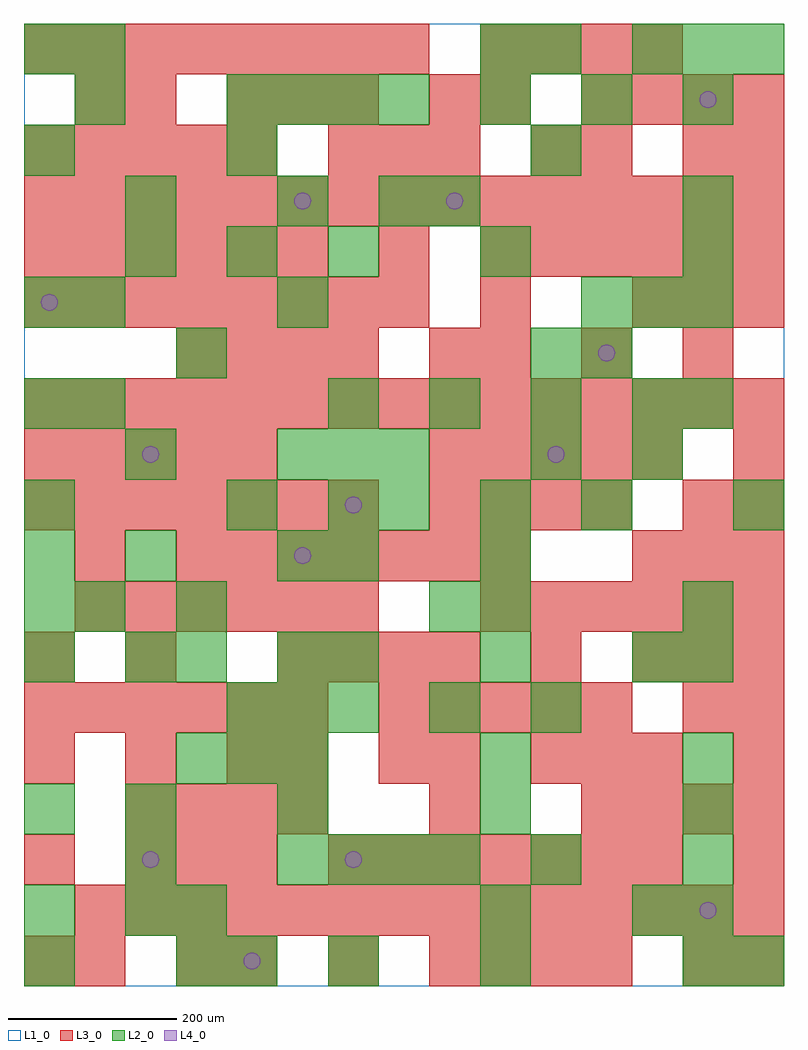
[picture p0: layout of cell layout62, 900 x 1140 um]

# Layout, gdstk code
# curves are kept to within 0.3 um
import gdstk
lib = gdstk.Library(unit=1e-6, precision=1e-09)
def R(c, l, rs):  # rectangles x0, y0, x1, y1
    for r in rs: c.add(gdstk.rectangle(r[:2], r[2:], *l))
def A(c, l, x, y, w, h, nx, ny, dx, dy):  # array of equal rectangles
    R(c, l, [(x+i*dx, y+j*dy, x+i*dx+w, y+j*dy+h) for i in range(nx) for j in range(ny)])
def P(c, l, *ps):  # polygons
    for p in ps: c.add(gdstk.Polygon(p, *l))
L1_0 = (1, 0)
L2_0 = (2, 0)
L3_0 = (3, 0)
L4_0 = (4, 0)

layout62 = lib.new_cell('layout62')
R(layout62, L1_0, [(0,0,900,1140)])
A(layout62, L2_0, 780, 0, 60, 60, 1, 3, 0, 60)
A(layout62, L2_0, 120, 60, 60, 60, 1, 3, 0, 60)
A(layout62, L2_0, 540, 60, 60, 60, 1, 3, 0, 180)
A(layout62, L2_0, 300, 120, 60, 60, 4, 1, 60, 0)
A(layout62, L2_0, 300, 180, 60, 60, 3, 1, 240, 0)
A(layout62, L2_0, 180, 240, 60, 60, 3, 1, 60, 0)
A(layout62, L2_0, 240, 300, 60, 60, 3, 1, 60, 0)
A(layout62, L2_0, 0, 360, 60, 60, 1, 4, 0, 60)
A(layout62, L2_0, 120, 360, 60, 60, 1, 3, 0, 120)
A(layout62, L2_0, 360, 360, 60, 60, 3, 1, 180, 0)
A(layout62, L2_0, 420, 540, 60, 60, 3, 1, 120, 0)
A(layout62, L2_0, 300, 600, 60, 60, 3, 1, 60, 0)
A(layout62, L2_0, 360, 660, 60, 60, 4, 1, 120, 0)
A(layout62, L2_0, 660, 780, 60, 60, 3, 1, 60, 0)
A(layout62, L2_0, 120, 840, 60, 60, 3, 1, 120, 0)
A(layout62, L2_0, 240, 1020, 60, 60, 4, 1, 60, 0)
A(layout62, L2_0, 540, 1020, 60, 60, 3, 1, 120, 0)
A(layout62, L2_0, 720, 1080, 60, 60, 3, 1, 60, 0)
R(layout62, L2_0, [(0,0,60,60), (180,0,240,60), (240,0,300,60), (360,0,420,60), (540,0,600,60), (840,0,900,60), (0,60,60,120), (180,60,240,120), (720,60,780,120), (600,120,660,180), (0,180,60,240), (780,240,840,300), (480,300,540,360), (600,300,660,360), (180,360,240,420), (300,360,360,420), (780,360,840,420), (60,420,120,480), (180,420,240,480), (480,420,540,480), (780,420,840,480), (300,480,360,540), (360,480,420,540), (540,480,600,540), (240,540,300,600), (360,540,420,600), (840,540,900,600), (600,600,660,660), (720,600,780,660), (0,660,60,720), (60,660,120,720), (780,660,840,720), (180,720,240,780), (600,720,660,780), (660,720,720,780), (0,780,60,840), (60,780,120,840), (300,780,360,840), (540,840,600,900), (780,840,840,900), (120,900,180,960), (300,900,360,960), (420,900,480,960), (480,900,540,960), (780,900,840,960), (0,960,60,1020), (240,960,300,1020), (600,960,660,1020), (60,1020,120,1080), (0,1080,60,1140), (60,1080,120,1140), (540,1080,600,1140), (600,1080,660,1140)])
A(layout62, L3_0, 240, 0, 60, 60, 3, 1, 120, 0)
A(layout62, L3_0, 540, 0, 60, 60, 3, 1, 60, 0)
A(layout62, L3_0, 840, 0, 60, 60, 1, 3, 0, 120)
A(layout62, L3_0, 60, 60, 60, 60, 14, 1, 60, 0)
A(layout62, L3_0, 120, 120, 60, 60, 3, 1, 60, 0)
A(layout62, L3_0, 360, 120, 60, 60, 7, 1, 60, 0)
A(layout62, L3_0, 120, 180, 60, 60, 4, 1, 60, 0)
A(layout62, L3_0, 660, 180, 60, 60, 4, 2, 60, 840)
A(layout62, L3_0, 0, 240, 60, 60, 3, 1, 120, 0)
A(layout62, L3_0, 600, 240, 60, 60, 3, 1, 60, 0)
A(layout62, L3_0, 0, 300, 60, 60, 6, 2, 60, 540)
A(layout62, L3_0, 420, 300, 60, 60, 5, 1, 60, 0)
A(layout62, L3_0, 300, 360, 60, 60, 4, 1, 60, 0)
A(layout62, L3_0, 720, 360, 60, 60, 3, 2, 60, 120)
A(layout62, L3_0, 60, 420, 60, 60, 6, 1, 60, 0)
A(layout62, L3_0, 540, 420, 60, 60, 6, 2, 60, 420)
A(layout62, L3_0, 180, 480, 60, 60, 7, 1, 60, 0)
A(layout62, L3_0, 0, 540, 60, 60, 7, 1, 60, 0)
A(layout62, L3_0, 480, 540, 60, 60, 4, 1, 60, 0)
A(layout62, L3_0, 0, 600, 60, 60, 5, 2, 60, 360)
A(layout62, L3_0, 480, 600, 60, 60, 5, 1, 60, 0)
A(layout62, L3_0, 0, 660, 60, 60, 15, 2, 60, 240)
A(layout62, L3_0, 180, 720, 60, 60, 4, 1, 60, 0)
A(layout62, L3_0, 540, 720, 60, 60, 3, 1, 120, 0)
A(layout62, L3_0, 0, 780, 60, 60, 8, 2, 60, 300)
A(layout62, L3_0, 720, 780, 60, 60, 3, 1, 60, 0)
A(layout62, L3_0, 360, 960, 60, 60, 3, 1, 60, 0)
A(layout62, L3_0, 240, 1020, 60, 60, 3, 1, 60, 0)
A(layout62, L3_0, 540, 1080, 60, 60, 4, 1, 60, 0)
R(layout62, L3_0, [(0,0,60,60), (60,0,120,60), (180,0,240,60), (780,0,840,60), (0,120,60,180), (480,180,540,240), (300,240,360,300), (420,240,480,300), (480,240,540,300), (780,300,840,360), (840,300,900,360), (0,360,60,420), (120,360,180,420), (600,360,660,420), (60,480,120,540), (780,540,840,600), (840,540,900,600), (840,600,900,660), (480,720,540,780), (540,780,600,840), (420,840,480,900), (600,960,660,1020), (660,960,720,1020), (780,960,840,1020), (840,960,900,1020), (60,1020,120,1080), (120,1020,180,1080), (480,1020,540,1080), (540,1020,600,1080)])
P(layout62, L4_0, [(40,810),(39.239,813.827),(37.071,817.071),(33.827,819.239),(30,820),(26.173,819.239),(22.929,817.071),(20.761,813.827),(20,810),(20.761,806.173),(22.929,802.929),(26.173,800.761),(30,800),(33.827,800.761),(37.071,802.929),(39.239,806.173)],
  [(160,150),(159.239,153.827),(157.071,157.071),(153.827,159.239),(150,160),(146.173,159.239),(142.929,157.071),(140.761,153.827),(140,150),(140.761,146.173),(142.929,142.929),(146.173,140.761),(150,140),(153.827,140.761),(157.071,142.929),(159.239,146.173)],
  [(160,630),(159.239,633.827),(157.071,637.071),(153.827,639.239),(150,640),(146.173,639.239),(142.929,637.071),(140.761,633.827),(140,630),(140.761,626.173),(142.929,622.929),(146.173,620.761),(150,620),(153.827,620.761),(157.071,622.929),(159.239,626.173)],
  [(280,30),(279.239,33.827),(277.071,37.071),(273.827,39.239),(270,40),(266.173,39.239),(262.929,37.071),(260.761,33.827),(260,30),(260.761,26.173),(262.929,22.929),(266.173,20.761),(270,20),(273.827,20.761),(277.071,22.929),(279.239,26.173)],
  [(340,510),(339.239,513.827),(337.071,517.071),(333.827,519.239),(330,520),(326.173,519.239),(322.929,517.071),(320.761,513.827),(320,510),(320.761,506.173),(322.929,502.929),(326.173,500.761),(330,500),(333.827,500.761),(337.071,502.929),(339.239,506.173)],
  [(340,930),(339.239,933.827),(337.071,937.071),(333.827,939.239),(330,940),(326.173,939.239),(322.929,937.071),(320.761,933.827),(320,930),(320.761,926.173),(322.929,922.929),(326.173,920.761),(330,920),(333.827,920.761),(337.071,922.929),(339.239,926.173)],
  [(400,150),(399.239,153.827),(397.071,157.071),(393.827,159.239),(390,160),(386.173,159.239),(382.929,157.071),(380.761,153.827),(380,150),(380.761,146.173),(382.929,142.929),(386.173,140.761),(390,140),(393.827,140.761),(397.071,142.929),(399.239,146.173)],
  [(400,570),(399.239,573.827),(397.071,577.071),(393.827,579.239),(390,580),(386.173,579.239),(382.929,577.071),(380.761,573.827),(380,570),(380.761,566.173),(382.929,562.929),(386.173,560.761),(390,560),(393.827,560.761),(397.071,562.929),(399.239,566.173)],
  [(520,930),(519.239,933.827),(517.071,937.071),(513.827,939.239),(510,940),(506.173,939.239),(502.929,937.071),(500.761,933.827),(500,930),(500.761,926.173),(502.929,922.929),(506.173,920.761),(510,920),(513.827,920.761),(517.071,922.929),(519.239,926.173)],
  [(640,630),(639.239,633.827),(637.071,637.071),(633.827,639.239),(630,640),(626.173,639.239),(622.929,637.071),(620.761,633.827),(620,630),(620.761,626.173),(622.929,622.929),(626.173,620.761),(630,620),(633.827,620.761),(637.071,622.929),(639.239,626.173)],
  [(700,750),(699.239,753.827),(697.071,757.071),(693.827,759.239),(690,760),(686.173,759.239),(682.929,757.071),(680.761,753.827),(680,750),(680.761,746.173),(682.929,742.929),(686.173,740.761),(690,740),(693.827,740.761),(697.071,742.929),(699.239,746.173)],
  [(820,90),(819.239,93.827),(817.071,97.071),(813.827,99.239),(810,100),(806.173,99.239),(802.929,97.071),(800.761,93.827),(800,90),(800.761,86.173),(802.929,82.929),(806.173,80.761),(810,80),(813.827,80.761),(817.071,82.929),(819.239,86.173)],
  [(820,1050),(819.239,1053.827),(817.071,1057.071),(813.827,1059.239),(810,1060),(806.173,1059.239),(802.929,1057.071),(800.761,1053.827),(800,1050),(800.761,1046.173),(802.929,1042.929),(806.173,1040.761),(810,1040),(813.827,1040.761),(817.071,1042.929),(819.239,1046.173)])

lib.write_gds('layout62.gds')
